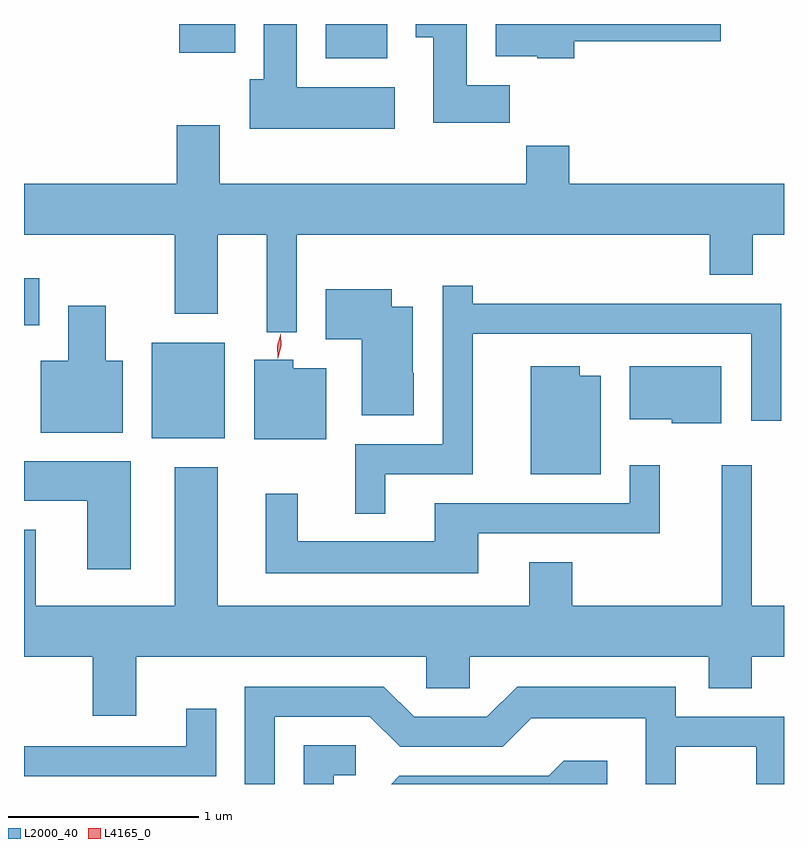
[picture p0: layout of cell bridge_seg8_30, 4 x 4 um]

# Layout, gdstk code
import gdstk
lib = gdstk.Library(unit=1e-6, precision=1e-09)
def R(c, l, rs):  # rectangles x0, y0, x1, y1
    for r in rs: c.add(gdstk.rectangle(r[:2], r[2:], *l))
def P(c, l, *ps):  # polygons
    for p in ps: c.add(gdstk.Polygon(p, *l))
L2000_40 = (2000, 40)
L4165_0 = (4165, 0)

bridge_seg8_30 = lib.new_cell('bridge_seg8_30')
R(bridge_seg8_30, L2000_40, [(1795.391,1879.746,1795.774,1880.249), (1794.718,1880.341,1794.799,1880.589), (1796.306,1881.746,1796.629,1881.926), (1795.536,1881.776,1795.829,1881.926)])
P(bridge_seg8_30, L2000_40, [(1797.274,1881.604),(1797.049,1881.604),(1797.049,1881.926),(1796.781,1881.926),(1796.781,1881.856),(1796.871,1881.856),(1796.871,1881.406),(1797.274,1881.406)],
  [(1796.669,1881.594),(1796.154,1881.594),(1796.154,1881.926),(1795.981,1881.926),(1795.981,1881.634),(1795.906,1881.634),(1795.906,1881.376),(1796.669,1881.376)],
  [(1797.614,1881.836),(1798.384,1881.836),(1798.384,1881.926),(1797.201,1881.926),(1797.201,1881.756),(1797.42,1881.756),(1797.42,1881.746),(1797.614,1881.746)],
  [(1796.154,1880.816),(1798.326,1880.816),(1798.326,1880.606),(1798.554,1880.606),(1798.554,1880.816),(1798.718,1880.816),(1798.718,1881.084),(1797.589,1881.084),(1797.589,1881.284),(1797.361,1881.284),(1797.361,1881.084),(1795.749,1881.084),(1795.749,1881.394),(1795.521,1881.394),(1795.521,1881.084),(1794.718,1881.084),(1794.718,1880.816),(1795.511,1880.816),(1795.511,1880.401),(1795.739,1880.401),(1795.739,1880.816),(1795.996,1880.816),(1795.996,1880.303),(1796.154,1880.303)],
  [(1796.619,1879.556),(1797.079,1879.556),(1797.079,1880.296),(1798.546,1880.296),(1798.546,1879.838),(1798.704,1879.838),(1798.704,1880.454),(1797.079,1880.454),(1797.079,1880.548),(1796.921,1880.548),(1796.921,1879.714),(1796.461,1879.714),(1796.461,1879.348),(1796.619,1879.348)],
  [(1796.769,1880.09),(1796.764,1880.09),(1796.764,1880.439),(1796.654,1880.439),(1796.654,1880.529),(1796.306,1880.529),(1796.306,1880.266),(1796.496,1880.266),(1796.496,1879.866),(1796.769,1879.866)],
  [(1795.239,1880.154),(1795.149,1880.154),(1795.149,1880.444),(1794.951,1880.444),(1794.951,1880.154),(1794.806,1880.154),(1794.806,1879.776),(1795.239,1879.776)],
  [(1796.309,1880.114),(1796.134,1880.114),(1796.134,1880.159),(1795.931,1880.159),(1795.931,1879.741),(1796.309,1879.741)],
  [(1798.389,1880.124),(1797.906,1880.124),(1797.906,1879.846),(1798.126,1879.846),(1798.126,1879.826),(1798.389,1879.826)],
  [(1797.754,1880.074),(1797.644,1880.074),(1797.644,1880.124),(1797.386,1880.124),(1797.386,1879.556),(1797.754,1879.556)],
  [(1795.279,1879.624),(1794.718,1879.624),(1794.718,1879.416),(1795.051,1879.416),(1795.051,1879.056),(1795.279,1879.056)],
  [(1797.109,1879.246),(1798.064,1879.246),(1798.064,1879.603),(1797.906,1879.603),(1797.906,1879.404),(1796.881,1879.404),(1796.881,1879.204),(1796.159,1879.204),(1796.159,1879.453),(1795.991,1879.453),(1795.991,1879.036),(1797.109,1879.036)],
  [(1795.309,1878.596),(1796.836,1878.596),(1796.836,1878.431),(1797.064,1878.431),(1797.064,1878.596),(1798.321,1878.596),(1798.321,1878.431),(1798.549,1878.431),(1798.549,1878.596),(1798.718,1878.596),(1798.718,1878.864),(1798.549,1878.864),(1798.549,1879.603),(1798.391,1879.603),(1798.391,1878.864),(1797.604,1878.864),(1797.604,1879.094),(1797.376,1879.094),(1797.376,1878.864),(1795.739,1878.864),(1795.739,1879.594),(1795.511,1879.594),(1795.511,1878.864),(1794.779,1878.864),(1794.779,1879.264),(1794.718,1879.264),(1794.718,1878.596),(1795.081,1878.596),(1795.081,1878.286),(1795.309,1878.286)],
  [(1796.039,1878.281),(1796.539,1878.281),(1796.699,1878.121),(1797.237,1878.121),(1797.387,1878.271),(1797.991,1878.271),(1797.991,1877.926),(1798.149,1877.926),(1798.149,1878.121),(1798.571,1878.121),(1798.571,1877.926),(1798.718,1877.926),(1798.718,1878.279),(1798.149,1878.279),(1798.149,1878.439),(1797.314,1878.439),(1797.154,1878.279),(1796.772,1878.279),(1796.612,1878.439),(1795.881,1878.439),(1795.881,1877.926),(1796.039,1877.926)],
  [(1795.729,1878.323),(1795.571,1878.323),(1795.571,1878.124),(1794.718,1878.124),(1794.718,1877.966),(1795.729,1877.966)],
  [(1796.349,1877.971),(1796.463,1877.971),(1796.463,1878.129),(1796.191,1878.129),(1796.191,1877.926),(1796.349,1877.926)],
  [(1797.788,1878.049),(1797.559,1878.049),(1797.479,1877.969),(1796.694,1877.969),(1796.651,1877.926),(1797.788,1877.926)])
P(bridge_seg8_30, L4165_0, [(1796.054,1880.164),(1796.053,1880.165),(1796.052,1880.232),(1796.069,1880.296),(1796.07,1880.297),(1796.07,1880.296),(1796.072,1880.229),(1796.054,1880.165)])

lib.write_gds('bridge_seg8_30.gds')
